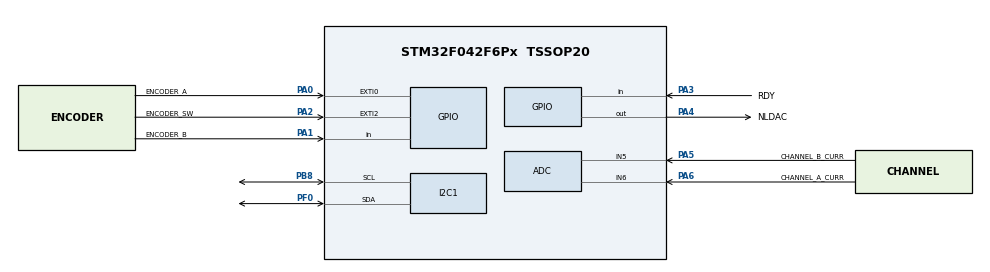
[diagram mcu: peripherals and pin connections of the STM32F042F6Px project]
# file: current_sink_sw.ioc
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I2C1.Timing=0x00201D2B
Mcu.Family=STM32F0
Mcu.Name=STM32F042F6Px
Mcu.Package=TSSOP20
NVIC.ADC1_IRQn=true\:0\:0\:false\:false\:true\:true\:true\:true
NVIC.EXTI0_1_IRQn=true\:0\:0\:false\:false\:true\:true\:true\:true
NVIC.EXTI2_3_IRQn=true\:0\:0\:false\:false\:true\:true\:true\:true
PA0.GPIO_Label=ENCODER_A
PA0.GPIO_ModeDefaultEXTI=GPIO_MODE_IT_RISING_FALLING
PA0.GPIO_PuPd=GPIO_PULLUP
PA0.Signal=GPXTI0
PA1.GPIO_Label=ENCODER_B
PA1.GPIO_PuPd=GPIO_PULLUP
PA1.Signal=GPIO_Input
PA13.Mode=Serial_Wire
PA13.Signal=SYS_SWDIO
PA14.Mode=Serial_Wire
PA14.Signal=SYS_SWCLK
PA2.GPIO_Label=ENCODER_SW
PA2.GPIO_ModeDefaultEXTI=GPIO_MODE_IT_FALLING
PA2.GPIO_PuPd=GPIO_PULLUP
PA2.Signal=GPXTI2
PA3.GPIO_Label=RDY
PA3.GPIO_PuPd=GPIO_PULLUP
PA3.Signal=GPIO_Input
PA4.GPIO_Label=NLDAC
PA4.Signal=GPIO_Output
PA5.GPIO_Label=CHANNEL_B_CURR
PA5.Mode=IN5
PA5.Signal=ADC_IN5
PA6.GPIO_Label=CHANNEL_A_CURR
PA6.Mode=IN6
PA6.Signal=ADC_IN6
PB8.GPIO_Pu=GPIO_PULLUP
PB8.Mode=I2C
PB8.Signal=I2C1_SCL
PF0-OSC_IN.GPIO_Pu=GPIO_PULLUP
PF0-OSC_IN.Mode=I2C
PF0-OSC_IN.Signal=I2C1_SDA
ProjectManager.HeapSize=0x200
ProjectManager.StackSize=0x400
ProjectManager.TargetToolchain=CMake
board=custom

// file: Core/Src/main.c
/* USER CODE BEGIN Header */
/**
  ******************************************************************************
  * @file           : main.c
  * @brief          : Main program body
  ******************************************************************************
  * @attention
  *
  * Copyright (c) 2025 STMicroelectronics.
  * All rights reserved.
  *
  * This software is licensed under terms that can be found in the LICENSE file
  * in the root directory of this software component.
  * If no LICENSE file comes with this software, it is provided AS-IS.
  *
  ******************************************************************************
  */
/* USER CODE END Header */
#include "main.h"
#include "adc.h"
#include "i2c.h"
#include "gpio.h"

/* USER CODE BEGIN Includes */
#include "utility.h"
#include "task_manager.h"
/* USER CODE END Includes */

/* USER CODE BEGIN PV */
uint8_t encoder_trig = 0;
/* USER CODE END PV */

void SystemClock_Config(void);

int main(void)
{

  /* USER CODE BEGIN 1 */
  uint32_t  counts = 0;
  uint8_t data[] = "WELCOME!";
  /* USER CODE END 1 */

  /* MCU Configuration--------------------------------------------------------*/

  /* Reset of all peripherals, Initializes the Flash interface and the Systick. */
  HAL_Init();

  /* Configure the system clock */
  SystemClock_Config();

  /* Initialize all configured peripherals */
  MX_GPIO_Init();
  MX_ADC_Init();
  MX_I2C1_Init();
  /* USER CODE BEGIN 2 */

  //load data for each character into set
  initSegements();
  //initialize MCP4728 library with tx & rx I2C functions
  mcpInit(txMcp, rxMcp);
  taskManagerInit(getTick);
  mcpWriteString(data);
  /* USER CODE END 2 */

  /* Infinite loop */
  while (1)
  {

    /* USER CODE BEGIN 3 */

    while(encoder_trig != 0x01){};
    HAL_Delay(500);
    encoder_trig = 0;
    mcpWriteString(".DAN\'S..'");

    while(encoder_trig != 0x01){};
    HAL_Delay(500);
    encoder_trig = 0;
    mcpWriteString(".1\'2.00mV");

    while(encoder_trig != 0x01){};
    HAL_Delay(500);
    encoder_trig = 0;
    mcpWriteString(".1...3.0.00mA");

    while(encoder_trig != 0x01){};
    HAL_Delay(500);
    encoder_trig = 0;
    mcpWriteString(".1230.00mA");

    while(encoder_trig != 0x01){};
    HAL_Delay(500);
    encoder_trig = 0;
    mcpWriteString("\'\'\'\'....");

    /*counts = handleEncoder(counts);
    encoder_trig = 0;
    mcpWriteNumber(counts);*/
  }
  /* USER CODE END 3 */
}

void SystemClock_Config(void)
{
  RCC_OscInitTypeDef RCC_OscInitStruct = {0};
  RCC_ClkInitTypeDef RCC_ClkInitStruct = {0};
  RCC_PeriphCLKInitTypeDef PeriphClkInit = {0};

  /** Initializes the RCC Oscillators according to the specified parameters
  * in the RCC_OscInitTypeDef structure.
  */
  RCC_OscInitStruct.OscillatorType = RCC_OSCILLATORTYPE_HSI|RCC_OSCILLATORTYPE_HSI14;
  RCC_OscInitStruct.HSIState = RCC_HSI_ON;
  RCC_OscInitStruct.HSI14State = RCC_HSI14_ON;
  RCC_OscInitStruct.HSICalibrationValue = RCC_HSICALIBRATION_DEFAULT;
  RCC_OscInitStruct.HSI14CalibrationValue = 16;
  RCC_OscInitStruct.PLL.PLLState = RCC_PLL_NONE;
  if (HAL_RCC_OscConfig(&RCC_OscInitStruct) != HAL_OK)
  {
    Error_Handler();
  }

  /** Initializes the CPU, AHB and APB buses clocks
  */
  RCC_ClkInitStruct.ClockType = RCC_CLOCKTYPE_HCLK|RCC_CLOCKTYPE_SYSCLK
                              |RCC_CLOCKTYPE_PCLK1;
  RCC_ClkInitStruct.SYSCLKSource = RCC_SYSCLKSOURCE_HSI;
  RCC_ClkInitStruct.AHBCLKDivider = RCC_SYSCLK_DIV1;
  RCC_ClkInitStruct.APB1CLKDivider = RCC_HCLK_DIV1;

  if (HAL_RCC_ClockConfig(&RCC_ClkInitStruct, FLASH_LATENCY_0) != HAL_OK)
  {
    Error_Handler();
  }
  PeriphClkInit.PeriphClockSelection = RCC_PERIPHCLK_I2C1;
  PeriphClkInit.I2c1ClockSelection = RCC_I2C1CLKSOURCE_HSI;
  if (HAL_RCCEx_PeriphCLKConfig(&PeriphClkInit) != HAL_OK)
  {
    Error_Handler();
  }
}

/* USER CODE BEGIN 4 */
void HAL_GPIO_EXTI_Callback(uint16_t pin){
  encoder_trig = 0x01;
}
/* USER CODE END 4 */

void Error_Handler(void)
{
  __disable_irq();
  while (1)
  {
  }
}
